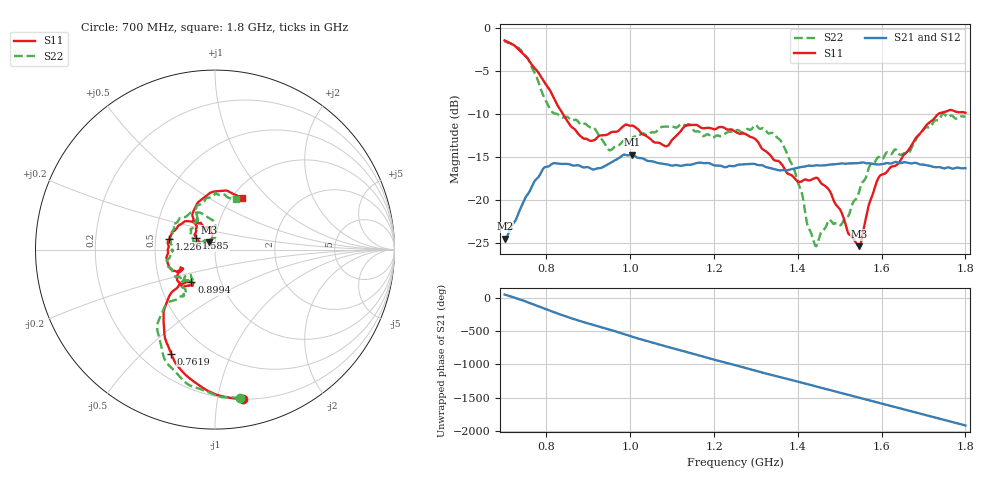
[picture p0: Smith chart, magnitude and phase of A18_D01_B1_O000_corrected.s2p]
! Created with skrf 1.9.0 (http://scikit-rf.org).
# Hz S RI R 50.0
!freq ReS11 ImS11 ReS21 ImS21 ReS12 ImS12 ReS22 ImS22
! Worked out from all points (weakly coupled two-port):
!   1601 points, 700 MHz to 1.8 GHz, reference 50 ohm
!   highest |S21| = -14.68 dB at 1.005 GHz (marker M1); lowest = -24.5 dB at 700.7 MHz (marker M2)
!   lowest |S11| = -25.3 dB at 1.546 GHz (marker M3), VSWR 1.11, Z = 46.5 + j3.86 ohm
!   |S11| at or under -10 dB: 839.5 MHz to 1.735 GHz (895.1 MHz wide, 69.5 % of centre)
!   |S22| runs from -25.3 to -1.5 dB; largest |S21 - S12| = 0.0037
!   S11 on the Smith chart (normalised r, x): 700 MHz: 0.20, -1.19; 761.9 MHz: 0.32, -0.62; 899.4 MHz: 0.72, -0.28; 1.226 GHz: 0.59, +0.08; 1.585 GHz: 0.81, +0.10; 1.8 GHz: 1.12, +0.71
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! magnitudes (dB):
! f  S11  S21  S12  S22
! 700 MHz  -1.4  -24.5  -24.3  -1.5
! 700.7 MHz  -1.4  -24.5  -24.2  -1.6
! 761.9 MHz  -4.0  -18.8  -18.7  -4.2
! 812.8 MHz  -7.6  -15.8  -15.8  -9.7
! 883.6 MHz  -12.7  -16.1  -16.0  -11.2
! 899.4 MHz  -13.0  -16.2  -16.2  -11.4
! 950.9 MHz  -12.2  -15.7  -15.7  -14.2
! 1.005 GHz  -11.3  -14.7  -14.8  -12.8
! 1.067 GHz  -13.3  -15.7  -15.6  -11.8
! 1.137 GHz  -11.3  -15.9  -15.9  -11.2
! 1.226 GHz  -11.6  -16.2  -16.1  -12.3
! 1.25 GHz  -12.0  -16.0  -15.9  -11.9
! 1.359 GHz  -15.7  -16.5  -16.5  -13.1
! 1.392 GHz  -17.4  -16.3  -16.3  -16.6
! 1.434 GHz  -17.6  -16.0  -16.0  -24.1
! 1.504 GHz  -21.4  -15.7  -15.7  -22.9
! 1.546 GHz  -25.3  -15.7  -15.6  -19.0
! 1.585 GHz  -18.3  -15.8  -15.8  -15.5
! 1.617 GHz  -16.4  -15.7  -15.7  -14.5
! 1.663 GHz  -14.2  -15.7  -15.7  -14.6
! 1.736 GHz  -9.9  -16.1  -16.2  -10.7
! 1.8 GHz  -9.8  -16.3  -16.3  -10.3
